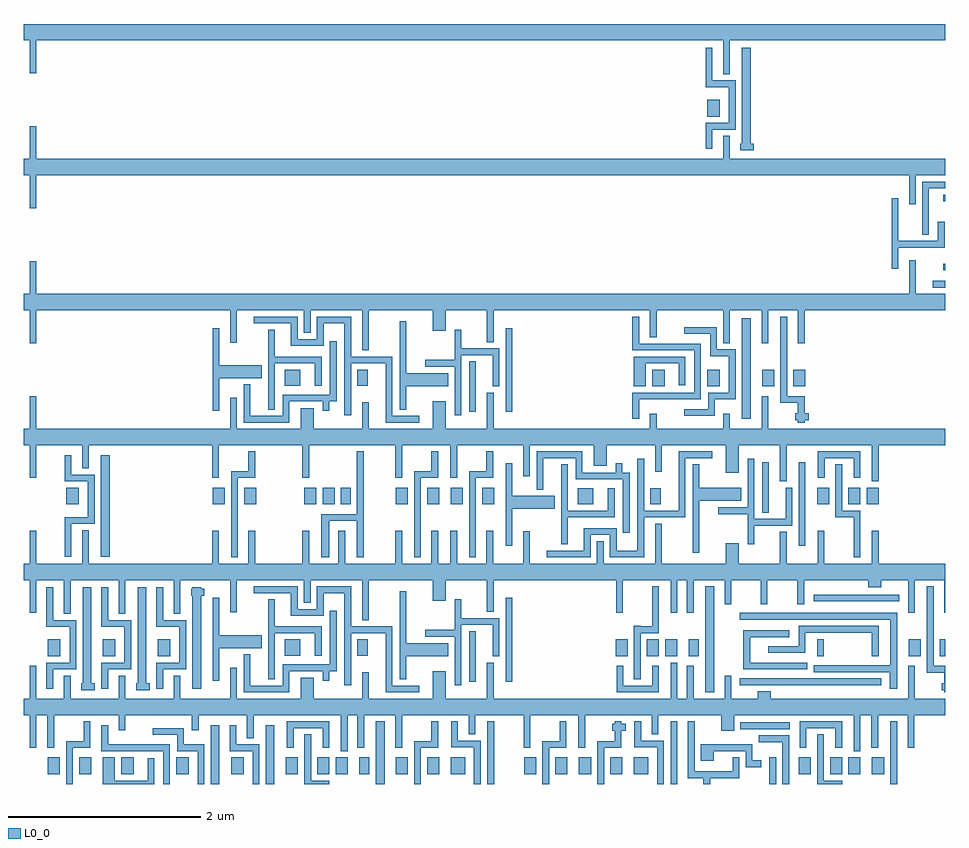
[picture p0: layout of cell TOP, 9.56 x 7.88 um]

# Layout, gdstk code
import gdstk
lib = gdstk.Library(unit=1e-6, precision=1e-09)
def R(c, l, rs):  # rectangles x0, y0, x1, y1
    for r in rs: c.add(gdstk.rectangle(r[:2], r[2:], *l))
def A(c, l, x, y, w, h, nx, ny, dx, dy):  # array of equal rectangles
    R(c, l, [(x+i*dx, y+j*dy, x+i*dx+w, y+j*dy+h) for i in range(nx) for j in range(ny)])
def P(c, l, *ps):  # polygons
    for p in ps: c.add(gdstk.Polygon(p, *l))
L0_0 = (0, 0)

top = lib.new_cell('TOP')
A(top, L0_0, 1.01, 0.1, 0.13, 0.175, 3, 1, 0.57, 0)
A(top, L0_0, 0.25, 1.325, 0.13, 0.175, 3, 1, 0.57, 0)
R(top, L0_0, [(1.94,0,2.03,0.61), (2.51,0,2.6,0.61), (3.65,0,3.745,0.65), (4.81,0,4.88,0.65), (6.71,0,6.78,0.65), (7.735,0,7.805,0.275), (8.99,0,9.06,0.65), (0.25,0.1,0.375,0.275), (0.575,0.1,0.7,0.275), (2.72,0.1,2.845,0.275), (3.045,0.1,3.17,0.275), (3.235,0.1,3.36,0.275), (3.48,0.1,3.585,0.275), (3.86,0.1,3.985,0.275), (4.185,0.1,4.31,0.275), (4.43,0.1,4.58,0.275), (5.19,0.1,5.315,0.275), (5.515,0.1,5.64,0.275), (5.76,0.1,5.885,0.275), (6.085,0.1,6.21,0.275), (6.33,0.1,6.48,0.275), (8.04,0.1,8.165,0.275), (8.365,0.1,8.49,0.275), (8.555,0.1,8.68,0.275), (8.8,0.1,8.925,0.275), (7.435,0.57,7.945,0.64), (7.07,0.95,7.165,2.05), (7.43,1.025,8.895,1.095), (4.62,1.06,4.69,1.585), (5,1.06,5.07,1.93), (6.14,1.325,6.265,1.5), (6.465,1.325,6.59,1.5), (6.655,1.325,6.78,1.5), (6.9,1.325,7.005,1.5), (8.23,1.325,8.3,1.5), (9.18,1.325,9.305,1.5), (9.505,1.325,9.56,1.5), (2.71,1.33,2.87,1.5), (3.46,1.33,3.57,1.5), (8.195,1.895,9.085,1.965), (0.8,2.36,0.89,3.41), (8.04,2.47,8.11,3.34), (7.66,2.815,7.73,3.34), (0.44,2.9,0.57,3.075), (1.96,2.9,2.085,3.075), (2.285,2.9,2.41,3.075), (2.91,2.9,3.035,3.075), (3.1,2.9,3.225,3.075), (3.29,2.9,3.39,3.075), (3.86,2.9,3.985,3.075), (4.185,2.9,4.31,3.075), (4.43,2.9,4.555,3.075), (4.755,2.9,4.88,3.075), (5.75,2.9,5.91,3.07), (6.5,2.9,6.61,3.07), (8.23,2.9,8.355,3.075), (8.555,2.9,8.68,3.075), (8.745,2.9,8.87,3.075), (7.45,3.79,7.54,4.83), (4.62,3.86,4.69,4.385), (5,3.86,5.07,4.73), (6.52,4.125,6.65,4.3), (7.09,4.125,7.22,4.3), (7.66,4.125,7.785,4.3), (7.985,4.125,8.11,4.3), (2.71,4.13,2.87,4.3), (3.46,4.13,3.57,4.3), (9.43,5.15,9.56,5.22), (9.54,5.33,9.56,5.4), (9.54,6.045,9.56,6.115), (7.09,6.925,7.22,7.1)])
P(top, L0_0, [(3.29,0.34),(3.29,0.715),(2.385,0.715),(2.385,0.475),(2.315,0.475),(2.315,0.715),(1.815,0.715),(1.815,0.56),(1.745,0.56),(1.745,0.715),(1.055,0.715),(1.055,0.56),(0.985,0.56),(0.985,0.715),(0.315,0.715),(0.315,0.375),(0.245,0.375),(0.245,0.715),(0.13,0.715),(0.13,0.375),(0.06,0.375),(0.06,0.715),(0,0.715),(0,0.885),(0.06,0.885),(0.06,1.225),(0.13,1.225),(0.13,0.885),(0.415,0.885),(0.415,1.125),(0.485,1.125),(0.485,0.885),(0.985,0.885),(0.985,1.125),(1.055,1.125),(1.055,0.885),(1.555,0.885),(1.555,1.125),(1.625,1.125),(1.625,0.885),(2.14,0.885),(2.14,1.205),(2.21,1.205),(2.21,0.885),(2.875,0.885),(2.875,1.1),(3.01,1.1),(3.01,0.885),(3.51,0.885),(3.51,1.16),(3.58,1.16),(3.58,0.885),(4.245,0.885),(4.245,1.17),(4.38,1.17),(4.38,0.885),(4.805,0.885),(4.805,1.26),(4.875,1.26),(4.875,0.885),(6.71,0.885),(6.71,1.26),(6.78,1.26),(6.78,0.885),(6.88,0.885),(6.88,1.225),(6.95,1.225),(6.95,0.885),(7.27,0.885),(7.27,1.125),(7.34,1.125),(7.34,0.885),(7.615,0.885),(7.615,0.96),(7.75,0.96),(7.75,0.885),(9.175,0.885),(9.175,1.225),(9.245,1.225),(9.245,0.885),(9.56,0.885),(9.56,0.715),(9.24,0.715),(9.24,0.375),(9.17,0.375),(9.17,0.715),(8.865,0.715),(8.865,0.375),(8.795,0.375),(8.795,0.715),(8.68,0.715),(8.68,0.34),(8.61,0.34),(8.61,0.715),(7.37,0.715),(7.37,0.55),(7.235,0.55),(7.235,0.715),(6.585,0.715),(6.585,0.515),(6.515,0.515),(6.515,0.715),(5.825,0.715),(5.825,0.375),(5.755,0.375),(5.755,0.715),(5.255,0.715),(5.255,0.375),(5.185,0.375),(5.185,0.715),(4.685,0.715),(4.685,0.515),(4.615,0.515),(4.615,0.715),(3.925,0.715),(3.925,0.375),(3.855,0.375),(3.855,0.715),(3.53,0.715),(3.53,0.375),(3.46,0.375),(3.46,0.715),(3.36,0.715),(3.36,0.34)],
  [(4.47,1.025),(4.47,1.53),(4.165,1.53),(4.165,1.6),(4.47,1.6),(4.47,1.915),(4.54,1.915),(4.54,1.72),(4.935,1.72),(4.935,1.325),(4.865,1.325),(4.865,1.65),(4.54,1.65),(4.54,1.025)],
  [(3.51,1.7),(3.51,2.115),(2.975,2.115),(2.975,1.88),(2.905,1.88),(2.905,2.115),(2.21,2.115),(2.21,1.78),(2.14,1.78),(2.14,2.115),(1.625,2.115),(1.625,1.765),(1.555,1.765),(1.555,2.115),(1.055,2.115),(1.055,1.765),(0.985,1.765),(0.985,2.115),(0.485,2.115),(0.485,1.765),(0.415,1.765),(0.415,2.115),(0.13,2.115),(0.13,1.775),(0.06,1.775),(0.06,2.115),(0,2.115),(0,2.285),(0.06,2.285),(0.06,2.625),(0.13,2.625),(0.13,2.285),(0.605,2.285),(0.605,2.635),(0.675,2.635),(0.675,2.285),(1.955,2.285),(1.955,2.625),(2.025,2.625),(2.025,2.285),(2.33,2.285),(2.33,2.625),(2.4,2.625),(2.4,2.285),(2.89,2.285),(2.89,2.625),(2.96,2.625),(2.96,2.285),(3.265,2.285),(3.265,2.625),(3.335,2.625),(3.335,2.285),(3.855,2.285),(3.855,2.625),(3.925,2.625),(3.925,2.285),(4.23,2.285),(4.23,2.625),(4.3,2.625),(4.3,2.285),(4.425,2.285),(4.425,2.625),(4.495,2.625),(4.495,2.285),(4.8,2.285),(4.8,2.625),(4.87,2.625),(4.87,2.285),(5.18,2.285),(5.18,2.62),(5.25,2.62),(5.25,2.285),(5.945,2.285),(5.945,2.52),(6.015,2.52),(6.015,2.285),(6.55,2.285),(6.55,2.7),(6.62,2.7),(6.62,2.285),(7.285,2.285),(7.285,2.5),(7.42,2.5),(7.42,2.285),(7.845,2.285),(7.845,2.615),(7.915,2.615),(7.915,2.285),(8.235,2.285),(8.235,2.625),(8.305,2.625),(8.305,2.285),(8.8,2.285),(8.8,2.625),(8.87,2.625),(8.87,2.285),(9.56,2.285),(9.56,1.775),(9.55,1.775),(9.55,2.115),(9.245,2.115),(9.245,1.775),(9.175,1.775),(9.175,2.115),(8.895,2.115),(8.895,2.04),(8.76,2.04),(8.76,2.115),(8.095,2.115),(8.095,1.865),(8.025,1.865),(8.025,2.115),(7.715,2.115),(7.715,1.865),(7.645,1.865),(7.645,2.115),(7.34,2.115),(7.34,1.865),(7.27,1.865),(7.27,2.115),(6.95,2.115),(6.95,1.775),(6.88,1.775),(6.88,2.115),(6.78,2.115),(6.78,1.775),(6.71,1.775),(6.71,2.115),(6.215,2.115),(6.215,1.775),(6.145,1.775),(6.145,2.115),(4.875,2.115),(4.875,1.785),(4.805,1.785),(4.805,2.115),(4.38,2.115),(4.38,1.9),(4.245,1.9),(4.245,2.115),(3.58,2.115),(3.58,1.7)],
  [(4.62,2.35),(4.62,3.245),(4.8,3.245),(4.8,3.45),(4.87,3.45),(4.87,3.175),(4.69,3.175),(4.69,2.35)],
  [(7.845,3.14),(7.845,3.515),(7.42,3.515),(7.42,3.23),(7.285,3.23),(7.285,3.515),(6.62,3.515),(6.62,3.24),(6.55,3.24),(6.55,3.515),(6.05,3.515),(6.05,3.3),(5.915,3.3),(5.915,3.515),(5.25,3.515),(5.25,3.195),(5.18,3.195),(5.18,3.515),(4.495,3.515),(4.495,3.175),(4.425,3.175),(4.425,3.515),(3.925,3.515),(3.925,3.175),(3.855,3.175),(3.855,3.515),(2.96,3.515),(2.96,3.175),(2.89,3.175),(2.89,3.515),(2.025,3.515),(2.025,3.175),(1.955,3.175),(1.955,3.515),(0.675,3.515),(0.675,3.275),(0.605,3.275),(0.605,3.515),(0.13,3.515),(0.13,3.175),(0.06,3.175),(0.06,3.515),(0,3.515),(0,3.685),(0.06,3.685),(0.06,4.025),(0.13,4.025),(0.13,3.685),(2.14,3.685),(2.14,4.005),(2.21,4.005),(2.21,3.685),(2.875,3.685),(2.875,3.9),(3.01,3.9),(3.01,3.685),(3.51,3.685),(3.51,3.96),(3.58,3.96),(3.58,3.685),(4.245,3.685),(4.245,3.97),(4.38,3.97),(4.38,3.685),(4.805,3.685),(4.805,4.06),(4.875,4.06),(4.875,3.685),(6.495,3.685),(6.495,3.84),(6.565,3.84),(6.565,3.685),(7.255,3.685),(7.255,3.84),(7.325,3.84),(7.325,3.685),(7.655,3.685),(7.655,4.025),(7.725,4.025),(7.725,3.685),(9.56,3.685),(9.56,3.515),(8.87,3.515),(8.87,3.14),(8.8,3.14),(8.8,3.515),(7.915,3.515),(7.915,3.14)],
  [(2.28,3.75),(2.28,4.145),(2.35,4.145),(2.35,3.82),(2.685,3.82),(2.685,4.04),(3.175,4.04),(3.175,4.595),(3.245,4.595),(3.245,3.97),(3.17,3.97),(3.17,3.87),(3.1,3.87),(3.1,3.97),(2.755,3.97),(2.755,3.75)],
  [(2.535,3.885),(2.535,4.715),(2.605,4.715),(2.605,4.435),(3.09,4.435),(3.09,4.13),(3.02,4.13),(3.02,4.365),(2.605,4.365),(2.605,3.885)],
  [(4.47,3.825),(4.47,4.33),(4.165,4.33),(4.165,4.4),(4.47,4.4),(4.47,4.715),(4.54,4.715),(4.54,4.52),(4.935,4.52),(4.935,4.125),(4.865,4.125),(4.865,4.45),(4.54,4.45),(4.54,3.825)],
  [(1.96,3.87),(1.96,4.73),(2.03,4.73),(2.03,4.345),(2.47,4.345),(2.47,4.21),(2.03,4.21),(2.03,3.87)],
  [(6.85,3.82),(6.85,3.89),(7.1,3.89),(7.1,4.06),(7.315,4.06),(7.315,4.44),(7.12,4.44),(7.12,4.67),(6.85,4.67),(6.85,4.74),(7.19,4.74),(7.19,4.51),(7.385,4.51),(7.385,3.99),(7.17,3.99),(7.17,3.82)],
  [(3.9,3.885),(3.9,4.8),(3.97,4.8),(3.97,4.26),(4.405,4.26),(4.405,4.125),(3.97,4.125),(3.97,3.885)],
  [(3.755,3.75),(3.755,4.365),(3.395,4.365),(3.395,3.825),(3.325,3.825),(3.325,4.78),(3.11,4.78),(3.11,4.545),(2.77,4.545),(2.77,4.78),(2.385,4.78),(2.385,4.85),(2.84,4.85),(2.84,4.615),(3.04,4.615),(3.04,4.85),(3.395,4.85),(3.395,4.435),(3.825,4.435),(3.825,3.82),(4.105,3.82),(4.105,3.75)],
  [(6.315,3.79),(6.315,4.06),(6.955,4.06),(6.955,4.5),(6.315,4.5),(6.315,4.85),(6.385,4.85),(6.385,4.57),(7.025,4.57),(7.025,3.99),(6.385,3.99),(6.385,3.79)],
  [(8.03,3.75),(8.03,3.775),(8.005,3.775),(8.005,3.845),(8.03,3.845),(8.03,3.955),(7.85,3.955),(7.85,4.85),(7.92,4.85),(7.92,4.025),(8.1,4.025),(8.1,3.845),(8.145,3.845),(8.145,3.775),(8.1,3.775),(8.1,3.75)],
  [(3.51,4.5),(3.51,4.915),(2.975,4.915),(2.975,4.68),(2.905,4.68),(2.905,4.915),(2.21,4.915),(2.21,4.58),(2.14,4.58),(2.14,4.915),(0.13,4.915),(0.13,4.575),(0.06,4.575),(0.06,4.915),(0,4.915),(0,5.085),(0.06,5.085),(0.06,5.425),(0.13,5.425),(0.13,5.085),(9.185,5.085),(9.185,5.435),(9.255,5.435),(9.255,5.085),(9.56,5.085),(9.56,4.915),(8.1,4.915),(8.1,4.575),(8.03,4.575),(8.03,4.915),(7.725,4.915),(7.725,4.575),(7.655,4.575),(7.655,4.915),(7.325,4.915),(7.325,4.575),(7.255,4.575),(7.255,4.915),(6.565,4.915),(6.565,4.635),(6.495,4.635),(6.495,4.915),(4.875,4.915),(4.875,4.585),(4.805,4.585),(4.805,4.915),(4.38,4.915),(4.38,4.7),(4.245,4.7),(4.245,4.915),(3.58,4.915),(3.58,4.5)],
  [(0.06,5.975),(0.06,6.315),(0,6.315),(0,6.485),(0.06,6.485),(0.06,6.825),(0.13,6.825),(0.13,6.485),(7.255,6.485),(7.255,6.725),(7.325,6.725),(7.325,6.485),(9.56,6.485),(9.56,6.315),(9.255,6.315),(9.255,6.015),(9.185,6.015),(9.185,6.315),(0.13,6.315),(0.13,5.975)],
  [(7.255,7.365),(7.255,7.715),(0.13,7.715),(0.13,7.375),(0.06,7.375),(0.06,7.715),(0,7.715),(0,7.885),(9.56,7.885),(9.56,7.715),(7.325,7.715),(7.325,7.365)],
  [(6.33,4.125),(6.33,4.435),(6.865,4.435),(6.865,4.135),(6.795,4.135),(6.795,4.365),(6.455,4.365),(6.455,4.125)],
  [(9.005,5.345),(9.005,6.075),(9.075,6.075),(9.075,5.635),(9.485,5.635),(9.485,5.835),(9.555,5.835),(9.555,5.565),(9.075,5.565),(9.075,5.345)],
  [(9.32,5.7),(9.32,6.25),(9.56,6.25),(9.56,6.18),(9.39,6.18),(9.39,5.7)],
  [(7.075,6.59),(7.075,6.86),(7.315,6.86),(7.315,7.23),(7.075,7.23),(7.075,7.64),(7.145,7.64),(7.145,7.3),(7.385,7.3),(7.385,6.79),(7.145,6.79),(7.145,6.59)],
  [(7.435,6.575),(7.435,6.645),(7.45,6.645),(7.45,7.64),(7.54,7.64),(7.54,6.645),(7.575,6.645),(7.575,6.575)],
  [(0.235,0.99),(0.235,1.26),(0.475,1.26),(0.475,1.63),(0.235,1.63),(0.235,2.04),(0.305,2.04),(0.305,1.7),(0.545,1.7),(0.545,1.19),(0.305,1.19),(0.305,0.99)],
  [(0.595,0.975),(0.595,1.045),(0.61,1.045),(0.61,2.04),(0.7,2.04),(0.7,1.045),(0.735,1.045),(0.735,0.975)],
  [(0.805,0.99),(0.805,1.26),(1.045,1.26),(1.045,1.63),(0.805,1.63),(0.805,2.04),(0.875,2.04),(0.875,1.7),(1.115,1.7),(1.115,1.19),(0.875,1.19),(0.875,0.99)],
  [(1.165,0.975),(1.165,1.045),(1.18,1.045),(1.18,2.04),(1.27,2.04),(1.27,1.045),(1.305,1.045),(1.305,0.975)],
  [(1.375,0.99),(1.375,1.26),(1.615,1.26),(1.615,1.63),(1.375,1.63),(1.375,2.04),(1.445,2.04),(1.445,1.7),(1.685,1.7),(1.685,1.19),(1.445,1.19),(1.445,0.99)],
  [(1.75,0.99),(1.75,1.955),(1.735,1.955),(1.735,2.025),(1.75,2.025),(1.75,2.04),(1.84,2.04),(1.84,2.025),(1.875,2.025),(1.875,1.955),(1.84,1.955),(1.84,0.99)],
  [(3.755,0.95),(3.755,1.565),(3.395,1.565),(3.395,1.025),(3.325,1.025),(3.325,1.98),(3.11,1.98),(3.11,1.745),(2.77,1.745),(2.77,1.98),(2.385,1.98),(2.385,2.05),(2.84,2.05),(2.84,1.815),(3.04,1.815),(3.04,2.05),(3.395,2.05),(3.395,1.635),(3.825,1.635),(3.825,1.02),(4.105,1.02),(4.105,0.95)],
  [(0.82,0),(0.82,0.275),(0.945,0.275),(0.945,0.035),(1.285,0.035),(1.285,0.265),(1.355,0.265),(1.355,0)],
  [(0.425,2.36),(0.425,2.77),(0.665,2.77),(0.665,3.14),(0.425,3.14),(0.425,3.41),(0.495,3.41),(0.495,3.21),(0.735,3.21),(0.735,2.7),(0.495,2.7),(0.495,2.36)],
  [(2.15,2.35),(2.15,3.245),(2.33,3.245),(2.33,3.45),(2.4,3.45),(2.4,3.175),(2.22,3.175),(2.22,2.35)],
  [(3.085,2.35),(3.085,2.8),(3.455,2.8),(3.455,3.45),(3.525,3.45),(3.525,2.35),(3.455,2.35),(3.455,2.73),(3.17,2.73),(3.17,2.35)],
  [(4.05,2.35),(4.05,3.245),(4.23,3.245),(4.23,3.45),(4.3,3.45),(4.3,3.175),(4.12,3.175),(4.12,2.35)],
  [(2.91,0),(2.91,0.515),(2.98,0.515),(2.98,0.035),(3.17,0.035),(3.17,0)],
  [(1.805,0),(1.805,0.34),(1.59,0.34),(1.59,0.51),(1.34,0.51),(1.34,0.58),(1.66,0.58),(1.66,0.41),(1.875,0.41),(1.875,0)],
  [(1.445,0),(1.445,0.34),(0.805,0.34),(0.805,0.61),(0.875,0.61),(0.875,0.41),(1.515,0.41),(1.515,0)],
  [(2.375,0),(2.375,0.34),(2.135,0.34),(2.135,0.61),(2.205,0.61),(2.205,0.41),(2.445,0.41),(2.445,0)],
  [(0.44,0),(0.44,0.445),(0.62,0.445),(0.62,0.65),(0.69,0.65),(0.69,0.375),(0.51,0.375),(0.51,0)],
  [(2.73,0.375),(2.73,0.65),(3.17,0.65),(3.17,0.375),(3.1,0.375),(3.1,0.58),(2.8,0.58),(2.8,0.375)],
  [(4.05,0),(4.05,0.445),(4.23,0.445),(4.23,0.65),(4.3,0.65),(4.3,0.375),(4.12,0.375),(4.12,0)],
  [(4.67,0),(4.67,0.38),(4.435,0.38),(4.435,0.65),(4.505,0.65),(4.505,0.45),(4.74,0.45),(4.74,0)],
  [(2.28,0.95),(2.28,1.345),(2.35,1.345),(2.35,1.02),(2.685,1.02),(2.685,1.24),(3.175,1.24),(3.175,1.795),(3.245,1.795),(3.245,1.17),(3.17,1.17),(3.17,1.07),(3.1,1.07),(3.1,1.17),(2.755,1.17),(2.755,0.95)],
  [(2.535,1.085),(2.535,1.915),(2.605,1.915),(2.605,1.635),(3.09,1.635),(3.09,1.33),(3.02,1.33),(3.02,1.565),(2.605,1.565),(2.605,1.085)],
  [(1.96,1.07),(1.96,1.93),(2.03,1.93),(2.03,1.545),(2.47,1.545),(2.47,1.41),(2.03,1.41),(2.03,1.07)],
  [(3.9,1.085),(3.9,2),(3.97,2),(3.97,1.46),(4.405,1.46),(4.405,1.325),(3.97,1.325),(3.97,1.085)],
  [(8.23,0),(8.23,0.515),(8.3,0.515),(8.3,0.035),(8.49,0.035),(8.49,0)],
  [(5.575,2.485),(5.575,3.315),(5.645,3.315),(5.645,2.835),(6.06,2.835),(6.06,3.07),(6.13,3.07),(6.13,2.765),(5.645,2.765),(5.645,2.485)],
  [(6.94,2.4),(6.94,3.315),(7.01,3.315),(7.01,3.075),(7.445,3.075),(7.445,2.94),(7.01,2.94),(7.01,2.4)],
  [(8.61,2.35),(8.61,2.765),(8.42,2.765),(8.42,3.315),(8.49,3.315),(8.49,2.835),(8.68,2.835),(8.68,2.35)],
  [(5,2.47),(5,3.33),(5.07,3.33),(5.07,2.99),(5.51,2.99),(5.51,2.855),(5.07,2.855),(5.07,2.47)],
  [(7.51,2.485),(7.51,2.8),(7.205,2.8),(7.205,2.87),(7.51,2.87),(7.51,3.375),(7.58,3.375),(7.58,2.75),(7.905,2.75),(7.905,3.075),(7.975,3.075),(7.975,2.68),(7.58,2.68),(7.58,2.485)],
  [(6.215,2.605),(6.215,3.16),(5.725,3.16),(5.725,3.38),(5.39,3.38),(5.39,3.055),(5.32,3.055),(5.32,3.45),(5.795,3.45),(5.795,3.23),(6.14,3.23),(6.14,3.33),(6.21,3.33),(6.21,3.23),(6.285,3.23),(6.285,2.605)],
  [(5.425,2.35),(5.425,2.42),(5.81,2.42),(5.81,2.655),(6.15,2.655),(6.15,2.42),(6.365,2.42),(6.365,3.375),(6.435,3.375),(6.435,2.835),(6.795,2.835),(6.795,3.45),(7.145,3.45),(7.145,3.38),(6.865,3.38),(6.865,2.765),(6.435,2.765),(6.435,2.35),(6.08,2.35),(6.08,2.585),(5.88,2.585),(5.88,2.35)],
  [(8.24,3.175),(8.24,3.45),(8.68,3.45),(8.68,3.175),(8.61,3.175),(8.61,3.38),(8.31,3.38),(8.31,3.175)],
  [(7.465,1.19),(7.465,1.595),(7.94,1.595),(7.94,1.525),(7.535,1.525),(7.535,1.26),(8.13,1.26),(8.13,1.19)],
  [(8.8,1.325),(8.8,1.57),(8.11,1.57),(8.11,1.36),(7.725,1.36),(7.725,1.43),(8.04,1.43),(8.04,1.64),(8.87,1.64),(8.87,1.325)],
  [(8.985,0.99),(8.985,1.16),(8.195,1.16),(8.195,1.23),(8.99,1.23),(8.99,1.705),(7.43,1.705),(7.43,1.775),(9.06,1.775),(9.06,0.99)],
  [(7.49,0.175),(7.49,0.34),(7.16,0.34),(7.16,0.24),(7.025,0.24),(7.025,0.41),(7.56,0.41),(7.56,0.245),(7.65,0.245),(7.65,0.175)],
  [(5.38,0),(5.38,0.445),(5.56,0.445),(5.56,0.65),(5.63,0.65),(5.63,0.375),(5.45,0.375),(5.45,0)],
  [(5.95,0),(5.95,0.445),(6.13,0.445),(6.13,0.555),(6.105,0.555),(6.105,0.625),(6.13,0.625),(6.13,0.65),(6.2,0.65),(6.2,0.625),(6.245,0.625),(6.245,0.555),(6.2,0.555),(6.2,0.375),(6.02,0.375),(6.02,0)],
  [(6.57,0),(6.57,0.38),(6.335,0.38),(6.335,0.65),(6.405,0.65),(6.405,0.45),(6.64,0.45),(6.64,0)],
  [(6.33,1.085),(6.33,1.64),(6.4,1.64),(6.4,1.635),(6.52,1.635),(6.52,2.05),(6.59,2.05),(6.59,1.565),(6.4,1.565),(6.4,1.085)],
  [(9.55,0.95),(9.55,0.975),(9.525,0.975),(9.525,1.045),(9.55,1.045),(9.55,1.155),(9.37,1.155),(9.37,2.05),(9.44,2.05),(9.44,1.225),(9.56,1.225),(9.56,0.95)],
  [(7.05,0),(7.05,0.06),(6.89,0.06),(6.89,0.65),(6.96,0.65),(6.96,0.13),(7.355,0.13),(7.355,0.275),(7.425,0.275),(7.425,0.06),(7.12,0.06),(7.12,0)],
  [(8.05,0.375),(8.05,0.65),(8.49,0.65),(8.49,0.375),(8.42,0.375),(8.42,0.58),(8.12,0.58),(8.12,0.375)],
  [(6.15,0.95),(6.15,1.225),(6.22,1.225),(6.22,1.02),(6.52,1.02),(6.52,1.225),(6.59,1.225),(6.59,0.95)],
  [(7.87,0),(7.87,0.435),(7.625,0.435),(7.625,0.505),(7.94,0.505),(7.94,0)])

lib.write_gds('TOP.gds')
